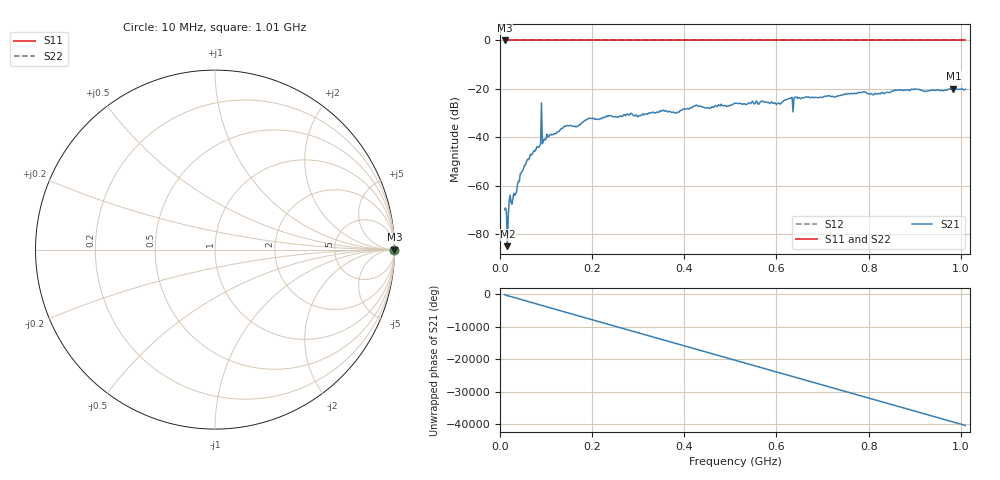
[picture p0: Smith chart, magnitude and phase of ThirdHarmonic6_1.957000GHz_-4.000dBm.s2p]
! 8/16/2025 11:33:18 PM
! C:\ANRITSUVNA\TEMP\TEMP.S2P
! CHANNEL.1
! TR.MEASUREMENT
! RAW.DATA
! RF.CORRECTION.OFF
! AVERAGING.OFF
! IF.BANDWIDTH: 5KHZ
! SWEEPTYPE:  FREQ.SWEEP(Linear)
! Reference Plane Port Info
! PORT:  PORT1  PORT2
! DISTANCE:  0  m  0  m
! TIME:  0  s  0  s
! PHASE.OFFSET:  0  deg.  0  deg.
! LOSS:  0  dB  0  dB
! REF.LOSS:  0  dB  0  dB
! REF.FREQ:  0  Hz  0  Hz
! Power Info
! POWER:  -20  dBm  -20  dBm
! EFF.POWER:  -20  dBm  -20  dBm
! SOURCE.ATTEN:  0  dB  0  dB
! TEST.ATTEN:  0  dB  0  dB
# GHZ S RI R 50.0
! FREQ.GHZ  S11RE  S11IM  S21RE  S21IM  S12RE  S12IM  S22RE  S22IM
!; PortSelection: Port_12
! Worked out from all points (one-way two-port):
!   501 points, 10 MHz to 1.01 GHz, reference 50 ohm
!   highest |S21| = -19.88 dB at 984 MHz (marker M1); lowest = -85.1 dB at 16 MHz (marker M2)
!   lowest |S11| = 0.0 dB at 10 MHz (marker M3)
!   |S11| at or under -10 dB: nowhere
!   |S22| runs from 0.0 to 0.0 dB; largest |S21 - S12| = 1.1
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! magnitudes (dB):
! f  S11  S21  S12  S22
! 10 MHz  0.0  -69.9  0.0  0.0
! 12 MHz  0.0  -69.2  0.0  0.0
! 16 MHz  0.0  -85.1  0.0  0.0
! 24 MHz  0.0  -67.0  0.0  0.0
! 30 MHz  0.0  -63.2  0.0  0.0
! 48 MHz  0.0  -54.1  0.0  0.0
! 62 MHz  0.0  -49.3  0.0  0.0
! 84 MHz  0.0  -44.2  0.0  0.0
! 86 MHz  0.0  -43.5  0.0  0.0
! 94 MHz  0.0  -41.5  0.0  0.0
! 96 MHz  0.0  -40.8  0.0  0.0
! 142 MHz  0.0  -35.5  0.0  0.0
! 178 MHz  0.0  -34.1  0.0  0.0
! 196 MHz  0.0  -32.2  0.0  0.0
! 344 MHz  0.0  -29.8  0.0  0.0
! 510 MHz  0.0  -25.9  0.0  0.0
! 604 MHz  0.0  -25.9  0.0  0.0
! 630 MHz  0.0  -24.0  0.0  0.0
! 678 MHz  0.0  -23.5  0.0  0.0
! 844 MHz  0.0  -21.5  0.0  0.0
! 984 MHz  0.0  -19.9  0.0  0.0
! 1.01 GHz  0.0  -20.2  0.0  0.0
